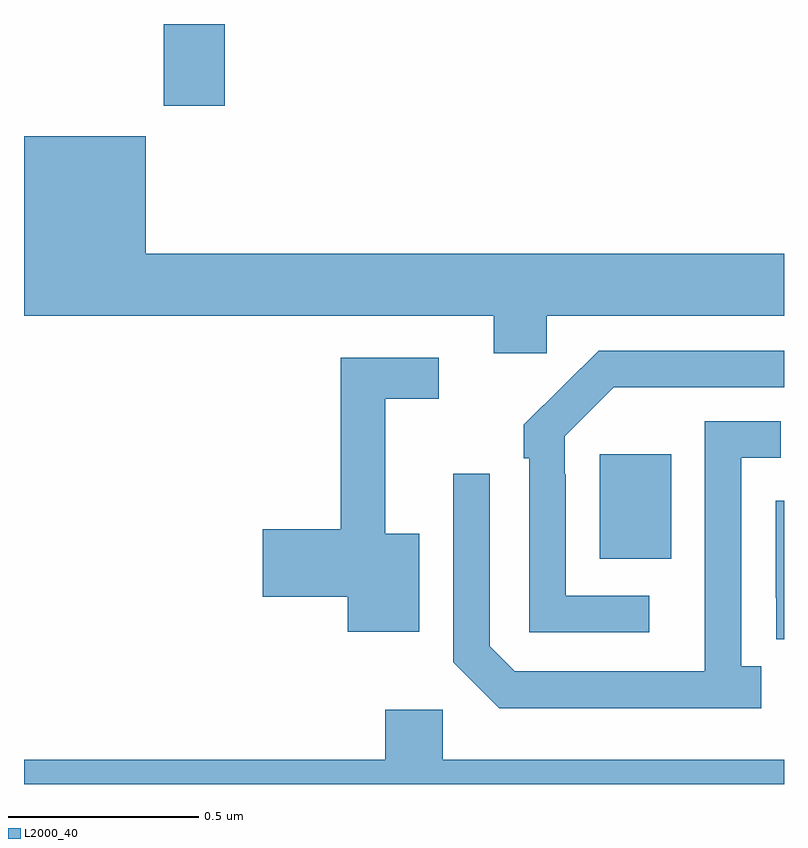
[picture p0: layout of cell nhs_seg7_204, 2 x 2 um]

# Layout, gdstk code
import gdstk
lib = gdstk.Library(unit=1e-6, precision=1e-09)
def R(c, l, rs):  # rectangles x0, y0, x1, y1
    for r in rs: c.add(gdstk.rectangle(r[:2], r[2:], *l))
def P(c, l, *ps):  # polygons
    for p in ps: c.add(gdstk.Polygon(p, *l))
L2000_40 = (2000, 40)

nhs_seg7_204 = lib.new_cell('nhs_seg7_204')
R(nhs_seg7_204, L2000_40, [(114.515,1050.593,114.703,1050.868), (113.368,1051.785,113.528,1052)])
P(nhs_seg7_204, L2000_40, [(114.375,1051.232),(115,1051.232),(115,1051.396),(113.32,1051.396),(113.32,1051.705),(113,1051.705),(113,1051.232),(114.236,1051.232),(114.236,1051.134),(114.375,1051.134)],
  [(114.646,1050.495),(114.426,1050.495),(114.426,1050.815),(114.423,1050.815),(114.423,1050.915),(114.552,1051.044),(115,1051.044),(115,1051.14),(114.512,1051.14),(114.421,1051.049),(114.42,1051.05),(114.315,1050.945),(114.315,1050.857),(114.33,1050.857),(114.33,1050.399),(114.646,1050.399)],
  [(114.04,1050.658),(113.951,1050.658),(113.951,1051.014),(114.091,1051.014),(114.091,1051.122),(113.833,1051.122),(113.833,1050.671),(113.628,1050.671),(113.628,1050.493),(113.852,1050.493),(113.852,1050.401),(114.04,1050.401)],
  [(114.94,1050.31),(114.888,1050.31),(114.888,1050.858),(114.991,1050.858),(114.991,1050.954),(114.792,1050.954),(114.792,1050.497),(114.791,1050.497),(114.791,1050.297),(114.291,1050.297),(114.225,1050.363),(114.225,1050.817),(114.129,1050.817),(114.129,1050.321),(114.25,1050.2),(114.94,1050.2)],
  [(115,1050.745),(114.978,1050.745),(114.978,1050.49),(114.979,1050.49),(114.979,1050.381),(115,1050.381)],
  [(115,1050.064),(114.102,1050.064),(114.102,1050.196),(113.951,1050.196),(113.951,1050.064),(113,1050.064),(113,1050),(115,1050)])

lib.write_gds('nhs_seg7_204.gds')
